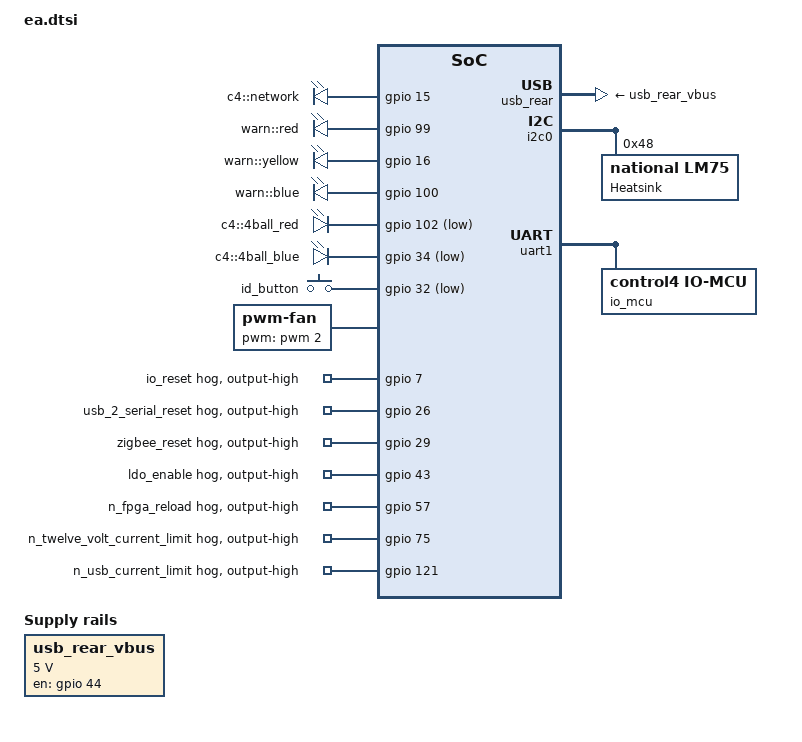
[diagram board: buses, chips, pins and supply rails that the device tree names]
// SPDX-License-Identifier: GPL-2.0
/*
 * What every Control4 EA board shares. Boards add their differences on top.
 * See site/src/content/docs/ea/device-tree.md.
 */
#include <dt-bindings/input/input.h>
#include "ce5300.dtsi"

/ {
	chosen {
		/* The 720x480 buffer CEFDK leaves scanning out; size = stride * height */
		framebuffer@7fc00000 {
			compatible = "simple-framebuffer";
			reg = <0x7fc00000 (2944 * 480)>;
			width = <720>;
			height = <480>;
			stride = <2944>;
			format = "a8r8g8b8";
		};
	};

	/* Front-panel LEDs. Names are ABI: iod and the restore button use them. */
	leds {
		compatible = "gpio-leds";

		led-network {
			label = "c4::network";
			gpios = <&gpio 15 GPIO_ACTIVE_HIGH>;
		};
		led-warn-red {
			label = "warn::red";
			gpios = <&gpio 99 GPIO_ACTIVE_HIGH>;
		};
		led-warn-yellow {
			label = "warn::yellow";
			gpios = <&gpio 16 GPIO_ACTIVE_HIGH>;
		};
		led-warn-blue {
			label = "warn::blue";
			gpios = <&gpio 100 GPIO_ACTIVE_HIGH>;
		};
		led-4ball-red {
			label = "c4::4ball_red";
			gpios = <&gpio 102 GPIO_ACTIVE_LOW>;
		};
		led-4ball-blue {
			label = "c4::4ball_blue";
			gpios = <&gpio 34 GPIO_ACTIVE_LOW>;
		};
	};

	/*
	 * Front ID button, active low; polled (gpio-intelce has no IRQs). Its name
	 * is ABI: udev links it as /dev/ohc/input/id-button.
	 */
	id-button {
		compatible = "gpio-keys-polled";
		label = "id-button";
		poll-interval = <40>;

		button-id {
			label = "id_button";
			gpios = <&gpio 32 GPIO_ACTIVE_LOW>;
			linux,code = <KEY_RESTART>;
			debounce-interval = <20>;
		};
	};
};

/*
 * Lines every EA board releases at boot (stock c4_gpio_config); driven from the
 * kernel so devices probe out of reset. Feature lines live with the feature.
 */
&gpio {
	/* IO microcontroller (relays, contacts, IR) */
	io-reset-hog {
		gpio-hog;
		gpios = <7 GPIO_ACTIVE_HIGH>;
		output-high;
		line-name = "io_reset";
	};
	/* CP2104 USB-serial bridge in front of the EM357 Zigbee radio */
	usb-2-serial-reset-hog {
		gpio-hog;
		gpios = <26 GPIO_ACTIVE_HIGH>;
		output-high;
		line-name = "usb_2_serial_reset";
	};
	/* EM357: released, so it runs its application from power-on */
	zigbee-reset-hog {
		gpio-hog;
		gpios = <29 GPIO_ACTIVE_HIGH>;
		output-high;
		line-name = "zigbee_reset";
	};
	ldo-enable-hog {
		gpio-hog;
		gpios = <43 GPIO_ACTIVE_HIGH>;
		output-high;
		line-name = "ldo_enable";
	};
	n-fpga-reload-hog {
		gpio-hog;
		gpios = <57 GPIO_ACTIVE_HIGH>;
		output-high;
		line-name = "n_fpga_reload";
	};
	/* EA1/EA3 power block */
	n-twelve-volt-current-limit-hog {
		gpio-hog;
		gpios = <75 GPIO_ACTIVE_HIGH>;
		output-high;
		line-name = "n_twelve_volt_current_limit";
	};
	n-usb-current-limit-hog {
		gpio-hog;
		gpios = <121 GPIO_ACTIVE_HIGH>;
		output-high;
		line-name = "n_usb_current_limit";
	};
};

/*
 * Rear USB port 5 V: a load switch on gpio44. A regulator, not a hog, so
 * usbcore port power can cut it. Fat kernel only (needs the regulator core).
 */
/ {
	usb_rear_vbus: regulator-usb-rear-vbus {
		compatible = "regulator-fixed";
		regulator-name = "usb_rear_vbus";
		regulator-min-microvolt = <5000000>;
		regulator-max-microvolt = <5000000>;
		gpios = <&gpio 44 GPIO_ACTIVE_HIGH>;
		enable-active-high;
	};
};

&usb_rear {
	vbus-supply = <&usb_rear_vbus>;
};

/* Heatsink sensor: the thermal zone below reads it through its hwmon. */
&i2c0 {
	heatsink_temp: temperature-sensor@48 {
		compatible = "national,lm75";
		reg = <0x48>;
		label = "Heatsink";	/* hwmon `label`: what the Health panel calls it */
		#thermal-sensor-cells = <0>;
	};
};

/*
 * Fan (pwm-fan) and the heatsink thermal zone that drives it.
 * See site/src/content/docs/ea/fan.md.
 */
/ {
	fan: pwm-fan {
		compatible = "pwm-fan";
		label = "Fan";		/* hwmon `label`, as above */
		pwms = <&pwm 2 10000 0>;
		/* off, then 30% to 100% in tens: one level per trip below */
		cooling-levels = <0 77 102 128 153 179 204 230 255>;
		#cooling-cells = <2>;
	};

	thermal-zones {
		heatsink-thermal {
			polling-delay = <5000>;
			polling-delay-passive = <0>;
			thermal-sensors = <&heatsink_temp>;

			trips {
				fan_on: fan-on {
					temperature = <50000>;
					hysteresis = <1000>;
					type = "active";
				};
				fan_40: fan-40 {
					temperature = <51000>;
					hysteresis = <1000>;
					type = "active";
				};
				fan_50: fan-50 {
					temperature = <52000>;
					hysteresis = <1000>;
					type = "active";
				};
				fan_60: fan-60 {
					temperature = <53000>;
					hysteresis = <1000>;
					type = "active";
				};
				fan_70: fan-70 {
					temperature = <54000>;
					hysteresis = <1000>;
					type = "active";
				};
				fan_80: fan-80 {
					temperature = <55000>;
					hysteresis = <1000>;
					type = "active";
				};
				fan_90: fan-90 {
					temperature = <56000>;
					hysteresis = <1000>;
					type = "active";
				};
				fan_full: fan-full {
					temperature = <57000>;
					hysteresis = <1000>;
					type = "active";
				};
				/* Ends a manual hold (sysmond); no kernel action. */
				heatsink-hot {
					temperature = <80000>;
					hysteresis = <0>;
					type = "hot";
				};
				/* Cooling has failed: orderly poweroff. *//* Cooling has failed: power off (see above for 95 C). */
				heatsink-crit {
					temperature = <95000>;
					hysteresis = <0>;
					type = "critical";
				};
			};

			cooling-maps {
				map-30 {
					trip = <&fan_on>;
					cooling-device = <&fan 1 1>;
				};
				map-40 {
					trip = <&fan_40>;
					cooling-device = <&fan 2 2>;
				};
				map-50 {
					trip = <&fan_50>;
					cooling-device = <&fan 3 3>;
				};
				map-60 {
					trip = <&fan_60>;
					cooling-device = <&fan 4 4>;
				};
				map-70 {
					trip = <&fan_70>;
					cooling-device = <&fan 5 5>;
				};
				map-80 {
					trip = <&fan_80>;
					cooling-device = <&fan 6 6>;
				};
				map-90 {
					trip = <&fan_90>;
					cooling-device = <&fan 7 7>;
				};
				map-100 {
					trip = <&fan_full>;
					cooling-device = <&fan 8 8>;
				};
			};
		};
	};
};

/* IO microcontroller on uart1; each model .dtsi adds its jacks. */
&uart1 {
	io_mcu: io-mcu {
		compatible = "control4,io-mcu";
		current-speed = <460800>;
		#address-cells = <1>;
		#size-cells = <0>;
	};
};
